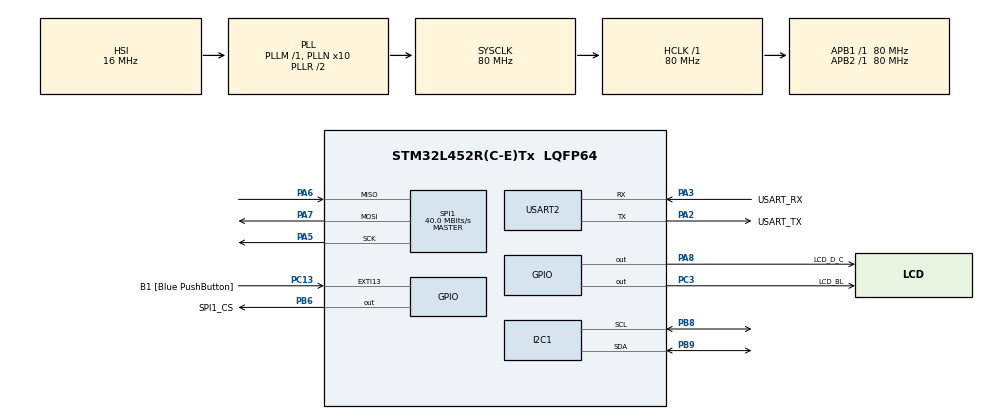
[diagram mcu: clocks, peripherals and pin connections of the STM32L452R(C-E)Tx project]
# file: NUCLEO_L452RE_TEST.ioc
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Dma.Request0=SPI1_TX
Dma.SPI1_TX.0.Direction=DMA_MEMORY_TO_PERIPH
Dma.SPI1_TX.0.Instance=DMA1_Channel3
Dma.SPI1_TX.0.MemDataAlignment=DMA_MDATAALIGN_BYTE
Dma.SPI1_TX.0.MemInc=DMA_MINC_ENABLE
Dma.SPI1_TX.0.Mode=DMA_NORMAL
Dma.SPI1_TX.0.PeriphDataAlignment=DMA_PDATAALIGN_BYTE
Dma.SPI1_TX.0.PeriphInc=DMA_PINC_DISABLE
Dma.SPI1_TX.0.Priority=DMA_PRIORITY_LOW
I2C1.Timing=0x10909CEC
Mcu.Family=STM32L4
Mcu.Name=STM32L452R(C-E)Tx
Mcu.Package=LQFP64
NVIC.DMA1_Channel3_IRQn=true\:0\:0\:false\:false\:true\:false\:true
NVIC.EXTI15_10_IRQn=true\:0\:0\:false\:false\:true\:true\:true
NVIC.PriorityGroup=NVIC_PRIORITYGROUP_4
NVIC.USART2_IRQn=true\:0\:0\:false\:false\:true\:true\:true
PA13\ (JTMS/SWDIO).GPIO_Label=TMS
PA13\ (JTMS/SWDIO).Mode=Trace_Asynchronous_SW
PA13\ (JTMS/SWDIO).Signal=SYS_JTMS-SWDIO
PA14\ (JTCK/SWCLK).GPIO_Label=TCK
PA14\ (JTCK/SWCLK).Mode=Trace_Asynchronous_SW
PA14\ (JTCK/SWCLK).Signal=SYS_JTCK-SWCLK
PA2.GPIO_Label=USART_TX
PA2.GPIO_Mode=GPIO_MODE_AF_PP
PA2.GPIO_PuPd=GPIO_NOPULL
PA2.GPIO_Speed=GPIO_SPEED_FREQ_VERY_HIGH
PA2.Mode=Asynchronous
PA2.Signal=USART2_TX
PA3.GPIO_Label=USART_RX
PA3.GPIO_Mode=GPIO_MODE_AF_PP
PA3.GPIO_PuPd=GPIO_NOPULL
PA3.GPIO_Speed=GPIO_SPEED_FREQ_VERY_HIGH
PA3.Mode=Asynchronous
PA3.Signal=USART2_RX
PA5.GPIO_PuPd=GPIO_NOPULL
PA5.GPIO_Speed=GPIO_SPEED_FREQ_VERY_HIGH
PA5.Mode=Full_Duplex_Master
PA5.Signal=SPI1_SCK
PA6.GPIO_PuPd=GPIO_NOPULL
PA6.GPIO_Speed=GPIO_SPEED_FREQ_VERY_HIGH
PA6.Mode=Full_Duplex_Master
PA6.Signal=SPI1_MISO
PA7.GPIO_PuPd=GPIO_NOPULL
PA7.GPIO_Speed=GPIO_SPEED_FREQ_VERY_HIGH
PA7.Mode=Full_Duplex_Master
PA7.Signal=SPI1_MOSI
PA8.GPIO_Label=LCD_D_C
PA8.Signal=GPIO_Output
PB3\ (JTDO/TRACESWO).GPIO_Label=SWO
PB3\ (JTDO/TRACESWO).Mode=Trace_Asynchronous_SW
PB3\ (JTDO/TRACESWO).Signal=SYS_JTDO-SWO
PB6.GPIO_Label=SPI1_CS
PB6.GPIO_Speed=GPIO_SPEED_FREQ_HIGH
PB6.Signal=GPIO_Output
PB8.GPIO_Pu=GPIO_PULLUP
PB8.GPIO_Speed=GPIO_SPEED_FREQ_MEDIUM
PB8.Mode=I2C
PB8.Signal=I2C1_SCL
PB9.GPIO_Pu=GPIO_PULLUP
PB9.GPIO_Speed=GPIO_SPEED_FREQ_MEDIUM
PB9.Mode=I2C
PB9.Signal=I2C1_SDA
PC13.GPIO_Label=B1 [Blue PushButton]
PC13.GPIO_ModeDefaultEXTI=GPIO_MODE_IT_FALLING
PC13.GPIO_PuPd=GPIO_PULLUP
PC13.Signal=GPXTI13
PC14-OSC32_IN\ (PC14).Mode=LSE-External-Oscillator
PC14-OSC32_IN\ (PC14).Signal=RCC_OSC32_IN
PC15-OSC32_OUT\ (PC15).Mode=LSE-External-Oscillator
PC15-OSC32_OUT\ (PC15).Signal=RCC_OSC32_OUT
PC3.GPIO_Label=LCD_BL
PC3.GPIO_PuPd=GPIO_PULLUP
PC3.Signal=GPIO_Output
ProjectManager.HeapSize=0x200
ProjectManager.StackSize=0x8000
ProjectManager.TargetToolchain=MDK-ARM V5.32
RCC.ADCFreq_Value=64000000
RCC.AHBFreq_Value=80000000
RCC.APB1Freq_Value=80000000
RCC.APB1TimFreq_Value=80000000
RCC.APB2Freq_Value=80000000
RCC.APB2TimFreq_Value=80000000
RCC.CortexFreq_Value=80000000
RCC.HCLKFreq_Value=80000000
RCC.HSE_VALUE=8000000
RCC.HSI48_VALUE=48000000
RCC.HSI_VALUE=16000000
RCC.MSI_VALUE=4000000
RCC.PLLN=10
RCC.PLLSourceVirtual=RCC_PLLSOURCE_HSI
RCC.PREFETCH_ENABLE=1
RCC.SYSCLKFreq_VALUE=80000000
RCC.SYSCLKSource=RCC_SYSCLKSOURCE_PLLCLK
RCC.USBFreq_Value=64000000
RCC.VCOOutputFreq_Value=160000000
SPI1.BaudRatePrescaler=SPI_BAUDRATEPRESCALER_2
SPI1.CalculateBaudRate=40.0 MBits/s
SPI1.DataSize=SPI_DATASIZE_8BIT
SPI1.Direction=SPI_DIRECTION_2LINES
SPI1.Mode=SPI_MODE_MASTER
SPI1.VirtualType=VM_MASTER
USART2.VirtualMode-Asynchronous=VM_ASYNC
VP_CRC_VS_CRC.Mode=CRC_Activate
board=NUCLEO-L452RE

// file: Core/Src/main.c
/* USER CODE BEGIN Header */
/**
  ******************************************************************************
  * @file           : main.c
  * @brief          : Main program body
  ******************************************************************************
  * @attention
  *
  * Copyright (c) 2022 STMicroelectronics.
  * All rights reserved.
  *
  * This software is licensed under terms that can be found in the LICENSE file
  * in the root directory of this software component.
  * If no LICENSE file comes with this software, it is provided AS-IS.
  *
  ******************************************************************************
  */
/* USER CODE END Header */
#include "main.h"
#include "crc.h"
#include "dma.h"
#include "i2c.h"
#include "spi.h"
#include "usart.h"
#include "gpio.h"

/* USER CODE BEGIN Includes */
#include <stdio.h>
#include "GUI.h"
#include "GT30L32S4W.h"
/* USER CODE END Includes */

/* USER CODE BEGIN PTD */
void HAL_UART_RxCpltCallback(UART_HandleTypeDef *huart);
/* USER CODE END PTD */

/* USER CODE BEGIN PV */
extern DMA_HandleTypeDef hdma_spi1_tx;
//extern GUI_CONST_STORAGE GUI_BITMAP bmYAGAMILIGHT;
extern int SP_call_count;
extern int DB_call_count;
extern int button;
extern int FR_call_count;
uint8_t UART_TRANS_OVER;
/* USER CODE END PV */

void SystemClock_Config(void);

/* USER CODE BEGIN 0 */
int fputc(int c, FILE *stream)    //??fputc??
{

    HAL_UART_Transmit(&huart2, (unsigned char *)&c, 1, 1000);
    return 1;
}
/* USER CODE END 0 */

int main(void)
{
  /* USER CODE BEGIN 1 */
	int i;
	uint8_t PSU_DATA[256]={0},UART_COMMAND[3];
  /* USER CODE END 1 */

  /* MCU Configuration--------------------------------------------------------*/

  /* Reset of all peripherals, Initializes the Flash interface and the Systick. */
  HAL_Init();

  /* Configure the system clock */
  SystemClock_Config();

  /* Initialize all configured peripherals */
  MX_GPIO_Init();
  MX_USART2_UART_Init();
  MX_DMA_Init();
  MX_SPI1_Init();
  MX_CRC_Init();
  MX_I2C1_Init();
  /* USER CODE BEGIN 2 */
	HAL_GPIO_WritePin(LCD_BL_GPIO_Port,LCD_BL_Pin,GPIO_PIN_SET);
//	printf("GUI_INIT\r\n");
//	GUI_Init();
//	printf("GUI_PASS\r\n");

	//HAL_Delay(3000);

	//HAL_I2C_Master_Receive(&hi2c1,0x50<<1,PSU_DATA,10,100);

	PSU_DATA[0] = 0xFF;
	PSU_DATA[1] = 0xEE;

	PSU_DATA[2] = 0xCC;

	//HAL_I2C_Mem_Read(&hi2c1,0x50<<1,0x8D,1,PSU_DATA,4,100);

//
//	HAL_Delay(5);
//
//	HAL_I2C_Mem_Read(&hi2c1,0x50<<1,0x3A,1,PSU_DATA,5,100);

//	HAL_I2C_Mem_Write(&hi2c1,0x50<<1,0x3A,1,&PSU_DATA[2],1,100);
//
//	HAL_Delay(10);
//
//	HAL_I2C_Mem_Write(&hi2c1,0x50<<1,0x3D,1,&PSU_DATA[2],1,100);
//
//	HAL_Delay(10);
//
//	HAL_I2C_Mem_Write(&hi2c1,0x50<<1,0x3B,1,PSU_DATA,2,100);
//
//	HAL_Delay(10);
//
//	HAL_I2C_Mem_Write(&hi2c1,0x50<<1,0x3C,1,PSU_DATA,2,100);
//
//	HAL_Delay(10);
//
//	HAL_I2C_Mem_Write(&hi2c1,0x50<<1,0x3E,1,PSU_DATA,2,100);
//
//	HAL_Delay(10);
//
//	HAL_I2C_Mem_Write(&hi2c1,0x50<<1,0x3F,1,PSU_DATA,2,100);
//
//	HAL_Delay(3);
//
//	HAL_I2C_Mem_Read(&hi2c1,0x50<<1,0x81,1,PSU_DATA,2,100);

//	for(i=0;i<256;i++){
//		printf("PSU_DATA[%d] : 0x%x\r\n",i,PSU_DATA[i]);
//	}

	//printf("GO\r\n");

	UART_COMMAND[0] = 1;
	UART_COMMAND[1] = 11;
	UART_COMMAND[2] = 31;

	UART_TRANS_OVER=0;

	HAL_UART_Receive_IT(&huart2,UART_COMMAND,3);

	while(UART_TRANS_OVER!=1){
//		printf("UART_COMMAND[0] : 0x%x\r\n",UART_COMMAND[0]);
//		printf("UART_COMMAND[1] : 0x%x\r\n",UART_COMMAND[1]);
//		printf("UART_COMMAND[2] : 0x%x\r\n",UART_COMMAND[2]);
//		printf("UART_TRANS_OVER : %d\r\n",UART_TRANS_OVER);
		HAL_Delay(2000);
	}
	//HAL_UART_Transmit(&huart2,UART_COMMAND , 3, 1000);
  /* USER CODE END 2 */

  /* Infinite loop */
  while (1)
  {

    /* USER CODE BEGIN 3 */
//		HAL_UART_Receive_IT(&huart2,UART_COMMAND,3);
//
//		while( [0]!=0xFF){}
//
//		HAL_I2C_Mem_Read(&hi2c1,0x50<<1,UART_COMMAND[1],1,PSU_DATA,UART_COMMAND[2],100);
//
//		UART_COMMAND[0] = 0;

		//HAL_UART_Transmit(&huart2,UART_COMMAND , 3, 1000);

		printf("UART_COMMAND[0] : 0x%x\r\n",UART_COMMAND[0]);
		printf("UART_COMMAND[1] : 0x%x\r\n",UART_COMMAND[1]);
		printf("UART_COMMAND[2] : 0x%x\r\n",UART_COMMAND[2]);

		printf("UART_TRANS_OVER : %d\r\n",UART_TRANS_OVER);

		HAL_Delay(1000);
  }
  /* USER CODE END 3 */
}

void SystemClock_Config(void)
{
  RCC_OscInitTypeDef RCC_OscInitStruct = {0};
  RCC_ClkInitTypeDef RCC_ClkInitStruct = {0};

  /** Configure the main internal regulator output voltage
  */
  if (HAL_PWREx_ControlVoltageScaling(PWR_REGULATOR_VOLTAGE_SCALE1) != HAL_OK)
  {
    Error_Handler();
  }
  /** Initializes the RCC Oscillators according to the specified parameters
  * in the RCC_OscInitTypeDef structure.
  */
  RCC_OscInitStruct.OscillatorType = RCC_OSCILLATORTYPE_HSI;
  RCC_OscInitStruct.HSIState = RCC_HSI_ON;
  RCC_OscInitStruct.HSICalibrationValue = RCC_HSICALIBRATION_DEFAULT;
  RCC_OscInitStruct.PLL.PLLState = RCC_PLL_ON;
  RCC_OscInitStruct.PLL.PLLSource = RCC_PLLSOURCE_HSI;
  RCC_OscInitStruct.PLL.PLLM = 1;
  RCC_OscInitStruct.PLL.PLLN = 10;
  RCC_OscInitStruct.PLL.PLLP = RCC_PLLP_DIV7;
  RCC_OscInitStruct.PLL.PLLQ = RCC_PLLQ_DIV2;
  RCC_OscInitStruct.PLL.PLLR = RCC_PLLR_DIV2;
  if (HAL_RCC_OscConfig(&RCC_OscInitStruct) != HAL_OK)
  {
    Error_Handler();
  }
  /** Initializes the CPU, AHB and APB buses clocks
  */
  RCC_ClkInitStruct.ClockType = RCC_CLOCKTYPE_HCLK|RCC_CLOCKTYPE_SYSCLK
                              |RCC_CLOCKTYPE_PCLK1|RCC_CLOCKTYPE_PCLK2;
  RCC_ClkInitStruct.SYSCLKSource = RCC_SYSCLKSOURCE_PLLCLK;
  RCC_ClkInitStruct.AHBCLKDivider = RCC_SYSCLK_DIV1;
  RCC_ClkInitStruct.APB1CLKDivider = RCC_HCLK_DIV1;
  RCC_ClkInitStruct.APB2CLKDivider = RCC_HCLK_DIV1;

  if (HAL_RCC_ClockConfig(&RCC_ClkInitStruct, FLASH_LATENCY_4) != HAL_OK)
  {
    Error_Handler();
  }
}

/* USER CODE BEGIN 4 */
void HAL_UART_RxCpltCallback(UART_HandleTypeDef *huart)
{
	while(HAL_UART_GetState(&huart2) == HAL_UART_STATE_BUSY_RX);
	UART_TRANS_OVER=1;
}
/* USER CODE END 4 */

void Error_Handler(void)
{
  __disable_irq();
  while (1)
  {
  }
}
